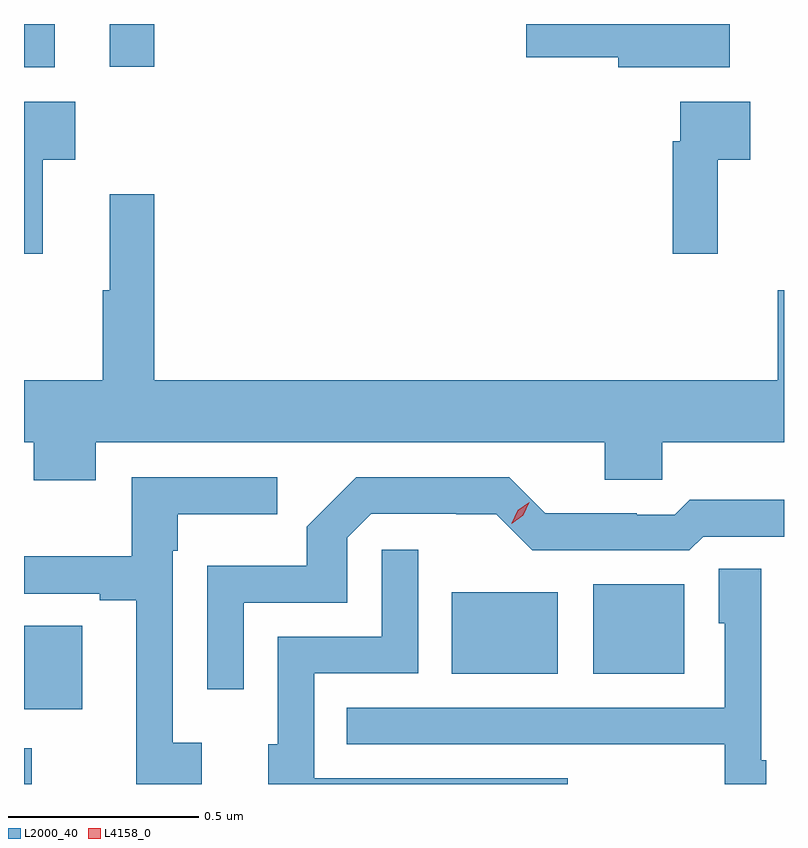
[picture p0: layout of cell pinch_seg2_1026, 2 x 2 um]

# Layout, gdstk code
import gdstk
lib = gdstk.Library(unit=1e-6, precision=1e-09)
def R(c, l, rs):  # rectangles x0, y0, x1, y1
    for r in rs: c.add(gdstk.rectangle(r[:2], r[2:], *l))
def P(c, l, *ps):  # polygons
    for p in ps: c.add(gdstk.Polygon(p, *l))
L2000_40 = (2000, 40)
L4158_0 = (4158, 0)

pinch_seg2_1026 = lib.new_cell('pinch_seg2_1026')
R(pinch_seg2_1026, L2000_40, [(160.684,585.465,160.705,585.559), (161.81,585.755,162.088,585.97), (162.182,585.755,162.421,585.991), (160.684,587.351,160.765,587.465), (160.91,587.352,161.027,587.465)])
P(pinch_seg2_1026, L2000_40, [(162.541,587.465),(162.006,587.465),(162.006,587.378),(162.248,587.378),(162.248,587.351),(162.541,587.351)],
  [(162.509,587.108),(162.595,587.108),(162.595,587.26),(162.411,587.26),(162.411,587.156),(162.391,587.156),(162.391,586.86),(162.509,586.86)],
  [(160.733,587.108),(160.819,587.108),(160.819,587.26),(160.684,587.26),(160.684,586.86),(160.733,586.86)],
  [(160.873,586.364),(162.212,586.364),(162.212,586.266),(162.363,586.266),(162.363,586.364),(162.684,586.364),(162.684,586.764),(162.667,586.764),(162.667,586.528),(161.027,586.528),(161.027,587.017),(160.91,587.017),(160.91,586.764),(160.891,586.764),(160.891,586.528),(160.684,586.528),(160.684,586.364),(160.709,586.364),(160.709,586.265),(160.873,586.265)],
  [(161.262,585.942),(161.535,585.942),(161.535,586.113),(161.598,586.176),(161.822,586.176),(161.822,586.175),(161.927,586.175),(162.021,586.08),(162.435,586.08),(162.471,586.116),(162.684,586.116),(162.684,586.213),(162.436,586.213),(162.396,586.173),(162.296,586.173),(162.296,586.178),(162.056,586.178),(161.961,586.272),(161.558,586.272),(161.428,586.142),(161.428,586.039),(161.166,586.039),(161.166,585.714),(161.262,585.714)],
  [(161.152,585.574),(161.076,585.574),(161.076,586.079),(161.089,586.079),(161.089,586.175),(161.35,586.175),(161.35,586.272),(160.968,586.272),(160.968,586.064),(160.684,586.064),(160.684,585.966),(160.883,585.966),(160.883,585.948),(160.979,585.948),(160.979,585.465),(161.152,585.465)],
  [(162.115,585.48),(161.448,585.48),(161.448,585.756),(161.721,585.756),(161.721,586.081),(161.625,586.081),(161.625,585.852),(161.352,585.852),(161.352,585.57),(161.327,585.57),(161.327,585.465),(162.115,585.465)],
  [(162.637,585.528),(162.624,585.528),(162.624,586.031),(162.512,586.031),(162.512,585.888),(162.528,585.888),(162.528,585.666),(161.533,585.666),(161.533,585.57),(162.211,585.57),(162.211,585.569),(162.528,585.569),(162.528,585.465),(162.637,585.465)],
  [(160.837,585.881),(160.685,585.881),(160.685,585.772),(160.684,585.772),(160.684,585.662),(160.837,585.662)])
P(pinch_seg2_1026, L4158_0, [(161.967,586.15),(161.967,586.151),(161.983,586.185),(162.013,586.206),(162.014,586.206),(162.014,586.206),(161.998,586.172),(161.967,586.15)])

lib.write_gds('pinch_seg2_1026.gds')
